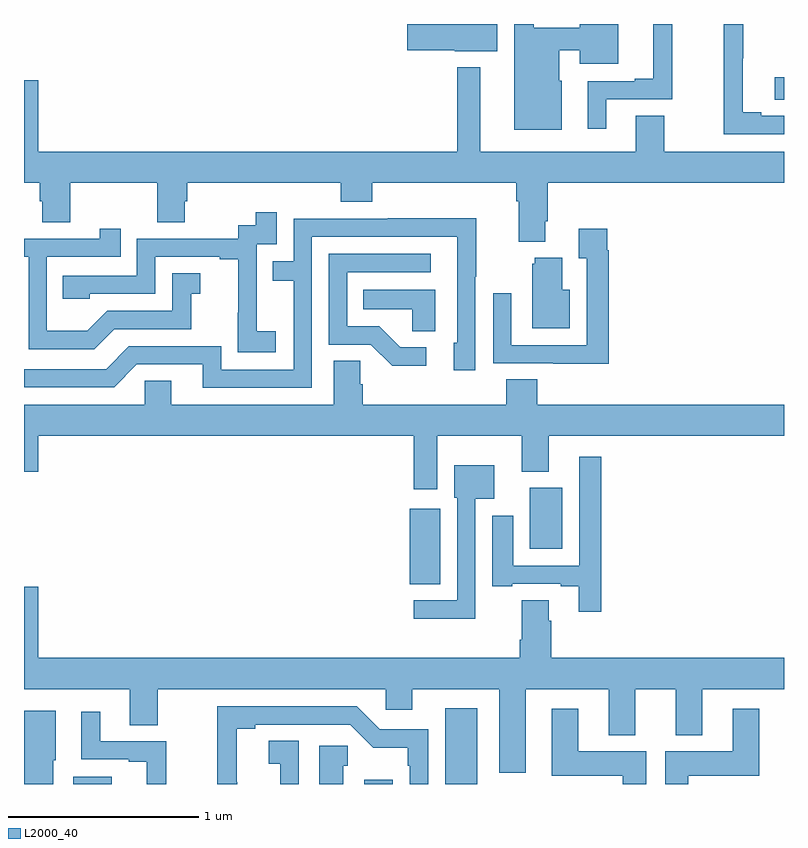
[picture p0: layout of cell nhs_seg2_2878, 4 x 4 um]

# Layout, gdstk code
import gdstk
lib = gdstk.Library(unit=1e-6, precision=1e-09)
def R(c, l, rs):  # rectangles x0, y0, x1, y1
    for r in rs: c.add(gdstk.rectangle(r[:2], r[2:], *l))
def P(c, l, *ps):  # polygons
    for p in ps: c.add(gdstk.Polygon(p, *l))
L2000_40 = (2000, 40)

nhs_seg2_2878 = lib.new_cell('nhs_seg2_2878')
R(nhs_seg2_2878, L2000_40, [(261.26,649.8,261.463,649.837), (262.79,649.8,262.942,649.822), (263.03,650.851,263.191,651.25), (263.663,651.038,263.833,651.358), (264.951,653.401,265,653.521)])
P(nhs_seg2_2878, L2000_40, [(263.83,653.502),(263.818,653.502),(263.818,653.663),(263.924,653.663),(263.924,653.591),(264.127,653.591),(264.127,653.8),(263.924,653.8),(263.924,653.78),(263.683,653.78),(263.683,653.8),(263.579,653.8),(263.579,653.243),(263.83,653.243)],
  [(265,653.316),(264.88,653.316),(264.88,653.336),(264.784,653.336),(264.784,653.619),(264.786,653.619),(264.786,653.8),(264.682,653.8),(264.682,653.22),(265,653.22)],
  [(264.064,653.403),(264.413,653.403),(264.413,653.8),(264.311,653.8),(264.311,653.512),(264.215,653.512),(264.215,653.499),(263.966,653.499),(263.966,653.25),(264.064,653.25)],
  [(263.491,653.8),(263.016,653.8),(263.016,653.663),(263.268,653.663),(263.268,653.657),(263.491,653.657)],
  [(263.743,652.762),(263.756,652.762),(263.756,652.964),(265,652.964),(265,653.128),(264.369,653.128),(264.369,653.318),(264.221,653.318),(264.221,653.128),(263.401,653.128),(263.401,653.572),(263.28,653.572),(263.28,653.128),(261.076,653.128),(261.076,653.503),(261,653.503),(261,652.964),(261.083,652.964),(261.083,652.866),(261.095,652.866),(261.095,652.756),(261.243,652.756),(261.243,652.964),(261.7,652.964),(261.7,652.756),(261.847,652.756),(261.847,652.866),(261.86,652.866),(261.86,652.964),(262.667,652.964),(262.667,652.865),(262.832,652.865),(262.832,652.964),(263.591,652.964),(263.591,652.868),(263.603,652.868),(263.603,652.655),(263.743,652.655)],
  [(262.324,652.183),(262.226,652.183),(262.226,652.412),(262.224,652.412),(262.224,652.641),(262.329,652.641),(262.329,652.81),(262.221,652.81),(262.221,652.74),(262.128,652.74),(262.128,652.671),(261.594,652.671),(261.594,652.476),(261.205,652.476),(261.205,652.353),(261.345,652.353),(261.345,652.38),(261.69,652.38),(261.69,652.575),(262.031,652.575),(262.031,652.563),(262.127,652.563),(262.127,652.279),(262.126,652.279),(262.126,652.073),(262.324,652.073)],
  [(262.515,652.68),(263.28,652.68),(263.28,652.122),(263.261,652.122),(263.261,651.978),(263.376,651.978),(263.376,652.471),(263.379,652.471),(263.379,652.778),(262.915,652.778),(262.915,652.776),(262.419,652.776),(262.419,652.551),(262.309,652.551),(262.309,652.45),(262.419,652.45),(262.419,651.981),(262.038,651.981),(262.038,652.104),(261.552,652.104),(261.432,651.984),(261,651.984),(261,651.888),(261.474,651.888),(261.594,652.008),(261.941,652.008),(261.941,651.885),(262.515,651.885)],
  [(264.077,652.61),(264.07,652.61),(264.07,652.723),(263.921,652.723),(263.921,652.567),(263.961,652.567),(263.961,652.11),(263.565,652.11),(263.565,652.384),(263.469,652.384),(263.469,652.014),(263.785,652.014),(263.785,652.013),(264.077,652.013)],
  [(261.475,652.194),(261.879,652.194),(261.879,652.379),(261.928,652.379),(261.928,652.489),(261.78,652.489),(261.78,652.29),(261.438,652.29),(261.334,652.186),(261.12,652.186),(261.12,652.575),(261.509,652.575),(261.509,652.723),(261.398,652.723),(261.398,652.671),(261,652.671),(261,652.575),(261.024,652.575),(261.024,652.089),(261.37,652.089)],
  [(263.116,652.098),(262.981,652.098),(262.87,652.209),(262.701,652.209),(262.701,652.494),(263.14,652.494),(263.14,652.59),(262.605,652.59),(262.605,652.113),(262.824,652.113),(262.937,652.001),(263.116,652.001)],
  [(263.872,652.402),(263.833,652.402),(263.833,652.57),(263.687,652.57),(263.687,652.539),(263.675,652.539),(263.675,652.199),(263.872,652.199)],
  [(263.164,652.402),(262.786,652.402),(262.786,652.298),(263.043,652.298),(263.043,652.183),(263.164,652.183)],
  [(263.176,651.632),(263.621,651.632),(263.621,651.443),(263.761,651.443),(263.761,651.632),(265,651.632),(265,651.796),(263.702,651.796),(263.702,651.929),(263.537,651.929),(263.537,651.796),(262.784,651.796),(262.784,651.905),(262.77,651.905),(262.77,652.028),(262.631,652.028),(262.631,651.796),(261.775,651.796),(261.775,651.923),(261.636,651.923),(261.636,651.796),(261,651.796),(261,651.444),(261.076,651.444),(261.076,651.632),(263.051,651.632),(263.051,651.351),(263.176,651.351)],
  [(264.038,651.523),(263.922,651.523),(263.922,650.949),(263.575,650.949),(263.575,651.211),(263.465,651.211),(263.465,650.841),(263.569,650.841),(263.569,650.853),(263.825,650.853),(263.825,650.841),(263.921,650.841),(263.921,650.706),(264.038,650.706)],
  [(263.376,651.302),(263.476,651.302),(263.476,651.478),(263.264,651.478),(263.264,651.306),(263.28,651.306),(263.28,650.766),(263.052,650.766),(263.052,650.669),(263.376,650.669)],
  [(263.641,650.3),(264.077,650.3),(264.077,650.057),(264.217,650.057),(264.217,650.3),(264.431,650.3),(264.431,650.057),(264.571,650.057),(264.571,650.3),(265,650.3),(265,650.464),(263.774,650.464),(263.774,650.66),(263.761,650.66),(263.761,650.768),(263.621,650.768),(263.621,650.56),(263.609,650.56),(263.609,650.464),(261.076,650.464),(261.076,650.839),(261,650.839),(261,650.3),(261.557,650.3),(261.557,650.11),(261.705,650.11),(261.705,650.3),(262.905,650.3),(262.905,650.19),(263.044,650.19),(263.044,650.3),(263.501,650.3),(263.501,649.859),(263.641,649.859)],
  [(262.122,649.809),(262.12,649.809),(262.12,650.092),(262.216,650.092),(262.216,650.112),(262.716,650.112),(262.837,649.991),(263.019,649.991),(263.019,649.895),(263.031,649.895),(263.031,649.8),(263.127,649.8),(263.127,650.088),(262.872,650.088),(262.752,650.208),(262.018,650.208),(262.018,649.8),(262.122,649.8)],
  [(263.386,650.2),(263.216,650.2),(263.216,649.846),(263.217,649.846),(263.217,649.8),(263.386,649.8)],
  [(264.496,649.844),(264.871,649.844),(264.871,650.197),(264.731,650.197),(264.731,649.972),(264.374,649.972),(264.374,649.8),(264.496,649.8)],
  [(264.274,649.972),(263.917,649.972),(263.917,650.197),(263.777,650.197),(263.777,649.844),(264.152,649.844),(264.152,649.8),(264.274,649.8)],
  [(261.154,649.926),(261.166,649.926),(261.166,650.185),(261,650.185),(261,649.8),(261.154,649.8)],
  [(261.749,650.025),(261.4,650.025),(261.4,650.179),(261.302,650.179),(261.302,649.929),(261.551,649.929),(261.551,649.917),(261.647,649.917),(261.647,649.8),(261.749,649.8)],
  [(262.446,650.027),(262.287,650.027),(262.287,649.907),(262.348,649.907),(262.348,649.8),(262.446,649.8)],
  [(262.681,649.896),(262.703,649.896),(262.703,650.002),(262.553,650.002),(262.553,649.8),(262.681,649.8)])

lib.write_gds('nhs_seg2_2878.gds')
